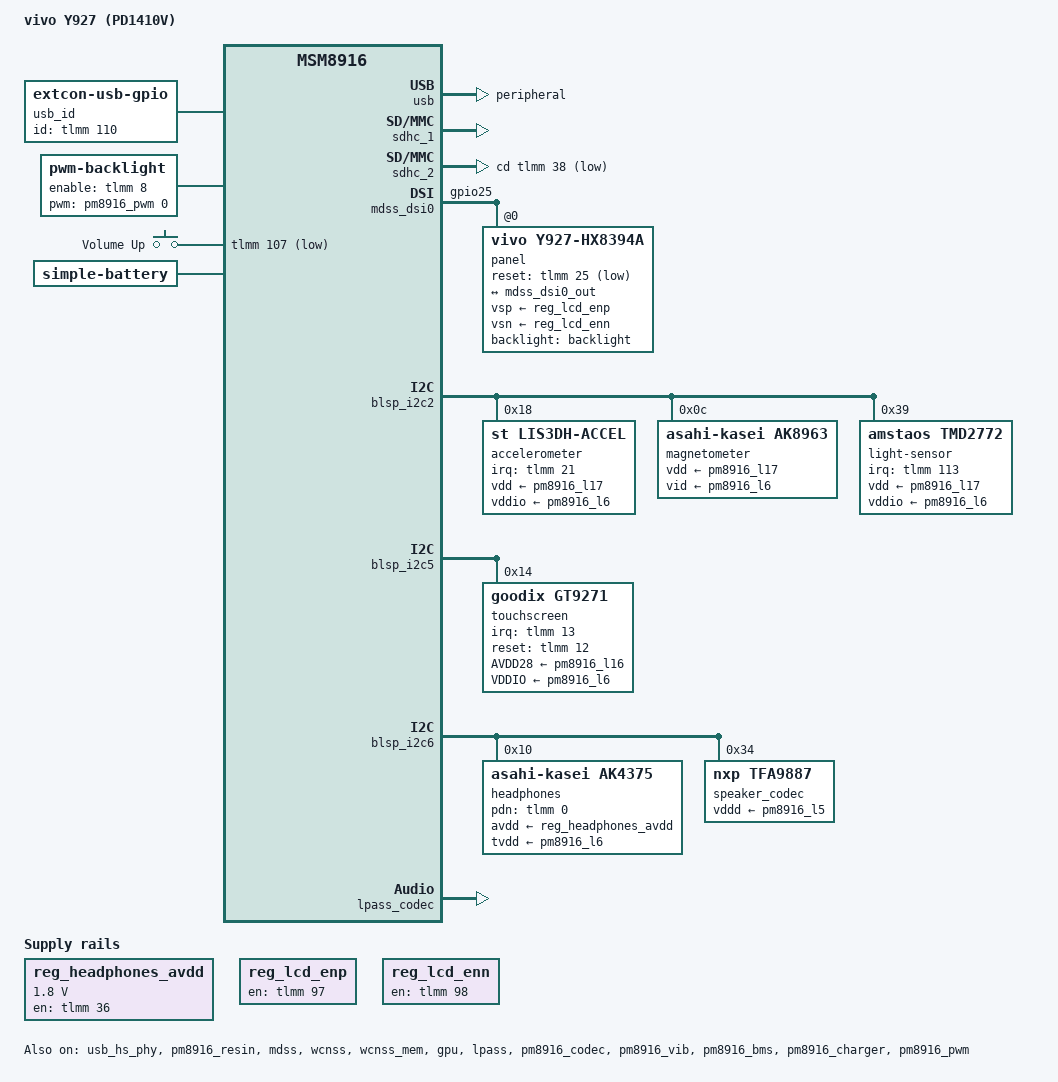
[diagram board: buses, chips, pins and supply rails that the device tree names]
// SPDX-License-Identifier: GPL-2.0-only

/dts-v1/;

#include "msm8916-pm8916.dtsi"
#include <dt-bindings/gpio/gpio.h>
#include <dt-bindings/input/input.h>
#include <dt-bindings/pinctrl/qcom,pmic-mpp.h>
#include <dt-bindings/sound/apq8016-lpass.h>
#include <dt-bindings/clock/qcom,rpmcc.h>
#include <dt-bindings/interrupt-controller/irq.h>

/ {
    model = "vivo Y927 (PD1410V)";
    compatible = "vivo,y927", "qcom,msm8916";
    chassis-type = "handset";

    aliases {
        mmc0 = &sdhc_1;   // eMMC 固化为 /dev/mmcblk0
        mmc1 = &sdhc_2;   // SD 卡 固化为 /dev/mmcblk1
    };

    usb_id: usb-id {
        compatible = "linux,extcon-usb-gpio";
        id-gpios = <&tlmm 110 GPIO_ACTIVE_HIGH>;
        pinctrl-names = "default";
        pinctrl-0 = <&usb_id_default>;
    };

    /* LCD backlight: PM8916 LPG/PWM on MPP4, GPIO8 as enable. */
    backlight: backlight {
        compatible = "pwm-backlight";
        pwms = <&pm8916_pwm 0 100000>;

        brightness-levels = <0 255>;
        num-interpolated-steps = <255>;
        default-brightness-level = <255>;
        enable-gpios = <&tlmm 8 GPIO_ACTIVE_HIGH>;
    };

	reg_headphones_avdd: regulator-headphones-avdd {
		compatible = "regulator-fixed";
		regulator-name = "headphones-avdd";
		regulator-min-microvolt = <1800000>;
		regulator-max-microvolt = <1800000>;
		gpio = <&tlmm 36 GPIO_ACTIVE_HIGH>;
		enable-active-high;
	};

    /* LCD 偏压电源 VSP */
    reg_lcd_enp: regulator-lcd-enp {
        compatible = "regulator-fixed";
        regulator-name = "lcd_enp";
        gpio = <&tlmm 97 GPIO_ACTIVE_HIGH>;
        enable-active-high;
        regulator-always-on;     /* lmdpdg 生成的 panel 驱动不读 vsp/vsn-supply */
        regulator-boot-on;       /* 必须 always-on，否则 fixed regulator 启动时被拉低，屏黑 */
    };

    /* LCD 偏压电源 VSN */
    reg_lcd_enn: regulator-lcd-enn {
        compatible = "regulator-fixed";
        regulator-name = "lcd_enn";
        gpio = <&tlmm 98 GPIO_ACTIVE_HIGH>;
        enable-active-high;
        regulator-always-on;
        regulator-boot-on;
    };

    /* 预留 lk1st splash framebuffer 不被内核踩踏 */
    reserved-memory {
        cont-splash@83200000 {
            reg = <0 0x83200000 0 0x800000>;
            no-map;
        };
    };

    gpio-keys {
        compatible = "gpio-keys";

        pinctrl-names = "default";
        pinctrl-0 = <&gpio_keys_default>;

        label = "GPIO Buttons";

        button-volume-up {
            label = "Volume Up";
            gpios = <&tlmm 107 GPIO_ACTIVE_LOW>;
            linux,code = <KEY_VOLUMEUP>;
        };
    };

    /*
     * Y927 原厂电池：4.35V / 2260 mAh
     * 数据来源：原厂 DTB `qcom,b76-atl-4v35-2260mah-data` 节点。
     * OCV 表为 25°C 下的电压→容量映射，主线 simple-battery 的标准做法。
     */
    battery: battery {
        compatible = "simple-battery";
        voltage-min-design-microvolt = <3400000>;
        voltage-max-design-microvolt = <4350000>;
        energy-full-design-microwatt-hours = <8588000>;
        charge-full-design-microamp-hours = <2260000>;
        ocv-capacity-celsius = <25>;
        ocv-capacity-table-0 = <
            4342000 100  4288000 95   4234000 90   4189000 85
            4148000 80   4111000 75   4075000 70   4041000 65
            4008000 60   3977000 55   3949000 50   3922000 45
            3895000 40   3866000 35   3835000 30   3803000 25
            3774000 20   3744000 15   3711000 10   3674000 5
            3634000 0
        >;
    };
};

&usb {
    dr_mode = "peripheral";
    extcon = <&usb_id>, <&usb_id>;
    status = "okay";
};

&usb_hs_phy {
    extcon = <&usb_id>;
    status = "okay";
};

&tlmm {
	accel_int_default: accel-int-default-state {
		pins = "gpio21";
		function = "gpio";
		drive-strength = <2>;
		bias-disable;
	};

	light_int_default: light-int-default-state {
		pins = "gpio113";
		function = "gpio";
		drive-strength = <2>;
		bias-disable;
	};

    usb_id_default: usb-id-default {
        pins = "gpio110";
        function = "gpio";
        drive-strength = <8>;
        bias-pull-up;
    };

    /* DSI reset pin (GPIO25) */
    mdss_default: mdss-default-state {
        pins = "gpio25";
        function = "gpio";
        drive-strength = <8>;
        bias-disable;
    };
    mdss_sleep: mdss-sleep-state {
        pins = "gpio25";
        function = "gpio";
        drive-strength = <2>;
        bias-pull-down;
    };
    headset_jack_default: headset-jack-default-state {
        pins = "gpio9";
        function = "gpio";
        drive-strength = <2>;
        bias-disable;
    };

    gpio_keys_default: gpio-keys-default-state {
        pins = "gpio107";
        function = "gpio";
        drive-strength = <2>;
        bias-pull-up;
    };

    /* 触摸屏 IRQ (GPIO13) + RESET (GPIO12) */
    touchscreen_default: touchscreen-default-state {
        touch-pins {
            pins = "gpio13";
            function = "gpio";
            drive-strength = <2>;
            bias-pull-up;
        };
        reset-pins {
            pins = "gpio12";
            function = "gpio";
            drive-strength = <2>;
            bias-disable;
        };
    };
};

&pm8916_resin {
    linux,code = <KEY_VOLUMEDOWN>;
    status = "okay";
};

/* PM8916 LDO16：触摸屏 AVDD28 (2.85V)。dtsi 里默认未声明 LDO16，板级要补上。 */
&pm8916_rpm_regulators {
    pm8916_l16: l16 {
        regulator-min-microvolt = <2850000>;
        regulator-max-microvolt = <2850000>;
    };

	pm8916_l17: l17 {
		regulator-min-microvolt = <2850000>;
		regulator-max-microvolt = <2850000>;
	};
};


&sdhc_1 {
    status = "okay";   // eMMC（内部存储）
};

&sdhc_2 {
    status = "okay";   // SD 卡（TF 卡槽）
    cd-gpios = <&tlmm 38 GPIO_ACTIVE_LOW>;
};

/* ====== DSI 主机 + 面板 ====== */
&mdss {
    status = "okay";
};

&mdss_dsi0 {
    pinctrl-names = "default", "sleep";
    pinctrl-0 = <&mdss_default>;
    pinctrl-1 = <&mdss_sleep>;
    status = "okay";

    panel@0 {
        compatible = "vivo,y927-hx8394a";
        reg = <0>;
        reset-gpios = <&tlmm 25 GPIO_ACTIVE_LOW>;
        backlight = <&backlight>;
        vsp-supply = <&reg_lcd_enp>;
        vsn-supply = <&reg_lcd_enn>;

        port {
            panel_in: endpoint {
                remote-endpoint = <&mdss_dsi0_out>;
            };
        };
    };
};

/* DSI host 输出端：data-lanes + remote-endpoint 必须放在这里 */
&mdss_dsi0_out {
    data-lanes = <0 1 2 3>;
    remote-endpoint = <&panel_in>;
};


/* ====== 传感器 (BLSP I2C2) ====== */
&blsp_i2c2 {
	status = "okay";

	accelerometer@18 {
		compatible = "st,lis3dh-accel";
		reg = <0x18>;
		interrupts-extended = <&tlmm 21 IRQ_TYPE_EDGE_RISING>;
		vdd-supply = <&pm8916_l17>;
		vddio-supply = <&pm8916_l6>;
		pinctrl-0 = <&accel_int_default>;
		pinctrl-names = "default";
		mount-matrix = "1", "0", "0",
				"0", "-1", "0",
				"0", "0", "-1";
	};

	magnetometer@c {
		compatible = "asahi-kasei,ak8963";
		reg = <0x0c>;
		vdd-supply = <&pm8916_l17>;
		vid-supply = <&pm8916_l6>;
	};

	light-sensor@39 {
		compatible = "amstaos,tmd2772";
		reg = <0x39>;
		interrupts-extended = <&tlmm 113 IRQ_TYPE_EDGE_FALLING>;
		vdd-supply = <&pm8916_l17>;
		vddio-supply = <&pm8916_l6>;
		pinctrl-0 = <&light_int_default>;
		pinctrl-names = "default";
	};
};

/* ====== 触摸屏 (Goodix GT9271 on BLSP I2C5 @ 0x14) ====== */
&blsp_i2c5 {
    status = "okay";

    touchscreen@14 {
        compatible = "goodix,gt9271";
        reg = <0x14>;
        interrupt-parent = <&tlmm>;
        interrupts = <13 IRQ_TYPE_EDGE_FALLING>;
        irq-gpios = <&tlmm 13 GPIO_ACTIVE_HIGH>;
        reset-gpios = <&tlmm 12 GPIO_ACTIVE_HIGH>;
        AVDD28-supply = <&pm8916_l16>;
        VDDIO-supply = <&pm8916_l6>;
        touchscreen-size-x = <720>;
        touchscreen-size-y = <1280>;
        pinctrl-names = "default";
        pinctrl-0 = <&touchscreen_default>;
    };
};

&blsp_i2c6 {
    status = "okay";

	headphones: audio-codec@10 {
		compatible = "asahi-kasei,ak4375";
		reg = <0x10>;
		avdd-supply = <&reg_headphones_avdd>;
		tvdd-supply = <&pm8916_l6>;
		pdn-gpios = <&tlmm 0 GPIO_ACTIVE_HIGH>;
		clocks = <&rpmcc RPM_SMD_BB_CLK2_PIN>;
		clock-names = "ref";
		#sound-dai-cells = <0>;
	};

    speaker_codec: audio-codec@34 {
        compatible = "nxp,tfa9887", "nxp,tfa9895";
        reg = <0x34>;
        vddd-supply = <&pm8916_l5>;
        sound-name-prefix = "Speaker";
        #sound-dai-cells = <0>;
    };
};

&wcnss {
    status = "okay";
};

&wcnss_iris {
    compatible = "qcom,wcn3620";        /* Y927 实测；与 lk2nd DTS 一致 */
};

&wcnss_mem {
    status = "okay";
};

&gpu {
    status = "okay";
};

&lpass {
    status = "okay";
};

&lpass_codec {
    status = "okay";
};

&pm8916_codec {
    pinctrl-names = "default";
    pinctrl-0 = <&headset_jack_default>;
    jack-gpios = <&tlmm 9 GPIO_ACTIVE_LOW>;

    qcom,micbias-lvl = <2800>;
    qcom,mbhc-vthreshold-low = <75 150 237 450 500>;
    qcom,mbhc-vthreshold-high = <75 150 237 450 500>;
    status = "okay";
};

&sound {
    model = "vivo-y927";
	widgets =
		"Speaker", "Speaker",
		"Headphone", "Headphones";
	pin-switches = "Speaker", "Headphones";
    audio-routing =
        "Speaker", "Speaker OUT",
		"Headphones", "HPL",
		"Headphones", "HPR",
        "AMIC1", "MIC BIAS External1",
        "AMIC2", "MIC BIAS Internal2",
        "AMIC3", "MIC BIAS External1";
    pinctrl-names = "default", "sleep";
    pinctrl-0 = <&cdc_pdm_default &sec_mi2s_default>;
    pinctrl-1 = <&cdc_pdm_sleep &sec_mi2s_sleep>;
    status = "okay";

    primary-dai-link {
        link-name = "Primary MI2S";

        cpu {
            sound-dai = <&lpass MI2S_PRIMARY>;
        };

        codec {
            sound-dai = <&lpass_codec 0>, <&pm8916_codec 0>;
        };
    };

    quaternary-dai-link {
        link-name = "External Outputs";

        cpu {
            sound-dai = <&lpass MI2S_QUATERNARY>;
        };

        codec {
            sound-dai = <&headphones>, <&speaker_codec>;
        };
    };

    tertiary-dai-link {
        link-name = "Tertiary MI2S";

        cpu {
            sound-dai = <&lpass MI2S_TERTIARY>;
        };

        codec {
            sound-dai = <&lpass_codec 1>, <&pm8916_codec 1>;
        };
    };
};

&pm8916_vib {
	status = "okay";
};

&pm8916_bms {
    status = "okay";
    monitored-battery = <&battery>;
    power-supplies = <&pm8916_charger>;
};

&pm8916_charger {
    status = "okay";
    monitored-battery = <&battery>;
    qcom,fast-charge-safe-current = <900000>;       /* 0.9 A 安全限流 */
    qcom,fast-charge-safe-voltage = <4200000>;      /* PM8916 LBC 浮充上限 4.2V */
};

&pm8916_pwm {
    status = "okay";
    pinctrl-names = "default";
    pinctrl-0 = <&pwm_out>;
};

&pm8916_mpps {
    pwm_out: mpp4-state {
        pins = "mpp4";
        function = "digital";
        power-source = <PM8916_MPP_VPH>;
        output-low;
        qcom,dtest = <1>;
    };
};
